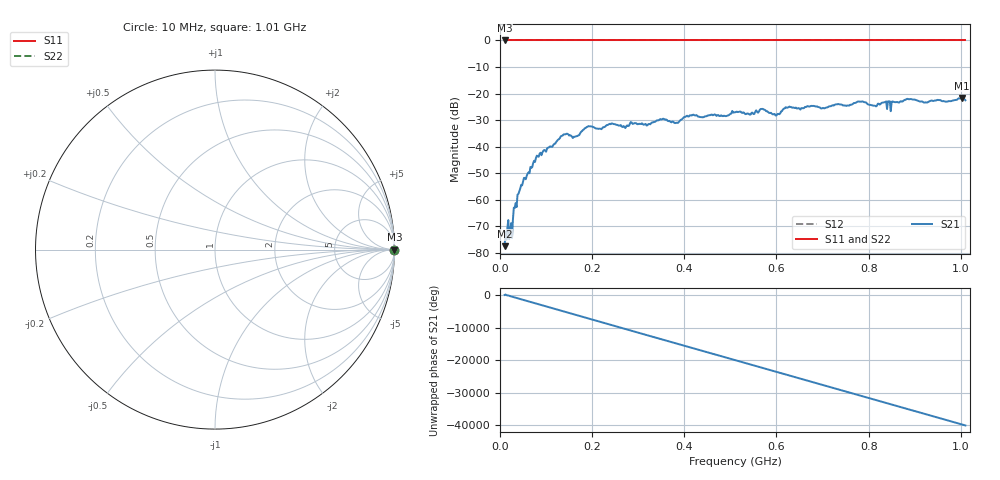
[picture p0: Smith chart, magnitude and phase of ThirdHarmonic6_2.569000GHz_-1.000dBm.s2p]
! 8/17/2025 5:22:04 AM
! C:\ANRITSUVNA\TEMP\TEMP.S2P
! CHANNEL.1
! TR.MEASUREMENT
! RAW.DATA
! RF.CORRECTION.OFF
! AVERAGING.OFF
! IF.BANDWIDTH: 5KHZ
! SWEEPTYPE:  FREQ.SWEEP(Linear)
! Reference Plane Port Info
! PORT:  PORT1  PORT2
! DISTANCE:  0  m  0  m
! TIME:  0  s  0  s
! PHASE.OFFSET:  0  deg.  0  deg.
! LOSS:  0  dB  0  dB
! REF.LOSS:  0  dB  0  dB
! REF.FREQ:  0  Hz  0  Hz
! Power Info
! POWER:  -20  dBm  -20  dBm
! EFF.POWER:  -20  dBm  -20  dBm
! SOURCE.ATTEN:  0  dB  0  dB
! TEST.ATTEN:  0  dB  0  dB
# GHZ S RI R 50.0
! FREQ.GHZ  S11RE  S11IM  S21RE  S21IM  S12RE  S12IM  S22RE  S22IM
!; PortSelection: Port_12
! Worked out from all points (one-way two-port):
!   501 points, 10 MHz to 1.01 GHz, reference 50 ohm
!   highest |S21| = -21.64 dB at 1.002 GHz (marker M1); lowest = -77.4 dB at 10 MHz (marker M2)
!   lowest |S11| = 0.0 dB at 10 MHz (marker M3)
!   |S11| at or under -10 dB: nowhere
!   |S22| runs from 0.0 to 0.0 dB; largest |S21 - S12| = 1.1
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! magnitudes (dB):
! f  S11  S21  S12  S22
! 10 MHz  0.0  -77.4  0.0  0.0
! 14 MHz  0.0  -75.0  0.0  0.0
! 24 MHz  0.0  -68.8  0.0  0.0
! 34 MHz  0.0  -61.2  0.0  0.0
! 42 MHz  0.0  -56.7  0.0  0.0
! 76 MHz  0.0  -45.7  0.0  0.0
! 136 MHz  0.0  -35.8  0.0  0.0
! 162 MHz  0.0  -36.3  0.0  0.0
! 178 MHz  0.0  -34.1  0.0  0.0
! 344 MHz  0.0  -30.0  0.0  0.0
! 382 MHz  0.0  -31.0  0.0  0.0
! 416 MHz  0.0  -28.2  0.0  0.0
! 510 MHz  0.0  -27.0  0.0  0.0
! 570 MHz  0.0  -25.7  0.0  0.0
! 602 MHz  0.0  -27.7  0.0  0.0
! 624 MHz  0.0  -25.3  0.0  0.0
! 678 MHz  0.0  -24.7  0.0  0.0
! 782 MHz  0.0  -23.0  0.0  0.0
! 844 MHz  0.0  -23.0  0.0  0.0
! 886 MHz  0.0  -22.1  0.0  0.0
! 1.002 GHz  0.0  -21.6  0.0  0.0
! 1.01 GHz  0.0  -22.5  0.0  0.0
